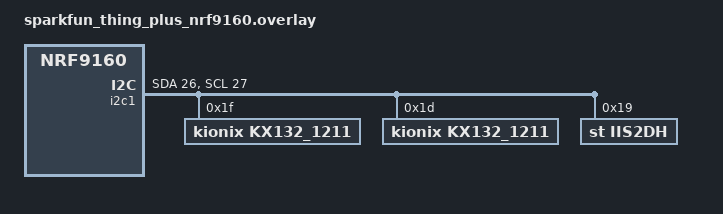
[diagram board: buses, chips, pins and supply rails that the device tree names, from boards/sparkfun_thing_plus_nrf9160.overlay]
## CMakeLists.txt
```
# ======================================================================
#  Project:  Kionix driver demo
#
#  SPDX-License-Identifier: Apache-2.0
# ======================================================================



# ----------------------------------------------------------------------
# - SECTION - the four stanzas from a Zephyr 'hello_world' simple app
# ----------------------------------------------------------------------

cmake_minimum_required(VERSION 3.20.0)

find_package(Zephyr REQUIRED HINTS $ENV{ZEPHYR_BASE})
project(hello_world)

#target_sources(app PRIVATE src/main.c)



# ----------------------------------------------------------------------
# - SECTION - development messages
# ----------------------------------------------------------------------

message(STATUS "- DEV 0923 - variable ZEPHYR_BASE holds '${ZEPHYR_BASE}'")



# ----------------------------------------------------------------------
# - SECTION - additional include paths
# ----------------------------------------------------------------------

zephyr_include_directories($ENV{ZEPHYR_BASE}/include/zephyr/debug)

zephyr_include_directories($ENV{ZEPHYR_BASE}/include/zephyr/kernel)

# Allow cmake and build tools to find 'arch_interface.h':
zephyr_include_directories($ENV{ZEPHYR_BASE}/include/zephyr/sys)


# To include lis2dh.h:
zephyr_include_directories($ENV{ZEPHYR_BASE}/drivers/sensor/lis2dh)
# To include iis2dh.h:
zephyr_include_directories($ENV{ZEPHYR_BASE}/drivers/sensor/iis2dh)


# 2022-11-10 THU - Zephyr 3.2.0 include path changes
zephyr_include_directories($ENV{ZEPHYR_BASE}/include/zephyr)




# ----------------------------------------------------------------------
# - SECTION - project sources
# ----------------------------------------------------------------------

# Originally called Kionix out-of-tree driver code (no new thread yet created to do this):
target_sources(app PRIVATE src/main.c)

# Identifying modules:
target_sources(app PRIVATE src/banner.c)

# Development modules:
target_sources(app PRIVATE src/diagnostic.c)

# Sensors related:
target_sources(app PRIVATE src/thread-iis2dh.c)
target_sources(app PRIVATE src/thread-lis2dh.c)
target_sources(app PRIVATE src/thread-led.c)

# Command Line Interface related:
target_sources(app PRIVATE src/thread-simple-cli.c)
target_sources(app PRIVATE src/cli-zephyr-stack-info.c)
target_sources(app PRIVATE src/cli-zephyr-kernel-timing.c)
target_sources(app PRIVATE src/cli-iis2dh-sensor.c)

# Internals:
target_sources(app PRIVATE src/conversions.c)
target_sources(app PRIVATE src/scoreboard.c)



## 2021-11-11
## https://stackoverflow.com/questions/31343813/displaying-cmake-variables

macro(print_all_variables)
    message(STATUS "print_all_variables------------------------------------------{")
    get_cmake_property(_variableNames VARIABLES)
    foreach (_variableName ${_variableNames})
        message(STATUS "${_variableName}=${${_variableName}}")
    endforeach()
    message(STATUS "print_all_variables------------------------------------------}")
endmacro()

#print_all_variables()


# --- end of CMakeLists.txt file ---
```

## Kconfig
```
#
# Copyright (c) <team name here>
#

mainmenu "Kionix Zephyr Driver Demo"

source "Kconfig.zephyr"

## 2021-11-15 MON
# 2021-11-15 - Unexpected need to add this stanza when today `west update` no longer pulls in kionix-drivers dependency:
#rsource "../kionix-drivers/Kconfig"
```

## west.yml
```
manifest:
  remotes:
    - name: zephyrproject-rtos
      url-base: https://github.com/zephyrproject-rtos

  projects:
    - name: zephyr
      repo-path: zephyr
      remote: zephyrproject-rtos
      revision: v3.2.0
      import: true

    # Kionix driver work repository, name of remote repository followed by name of local dir into which to clone:
    - name: zephyr-driver-work-v2
      path: kionix-drivers
      revision: main
      url: https://github.com/tedhavelka/zephyr-driver-work-v2

  self:
    # This repository should be cloned to 
    path: kionix-driver-demo
```

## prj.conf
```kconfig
##----------------------------------------------------------------------
##
## Copyright (c) <team name here>
##
## Note:  borrowing a number of Zephyr configuration stanzas from
##  Jared Wolff's "Air Quality Wing Demo" prj.conf file.  Details
##  of Jared's Zephyr work in this regard on Github at:
##
##  *  https://github.com/circuitdojo/air-quality-wing-zephyr-demo/blob/main/basic/prj.conf
##
##----------------------------------------------------------------------

# Heap and stacks
CONFIG_INIT_STACKS=y
CONFIG_MAIN_STACK_SIZE=2048

# GPIO
CONFIG_GPIO=y

# Logging
CONFIG_LOG=y
CONFIG_LOG_MODE_IMMEDIATE=y
CONFIG_SERIAL=y
CONFIG_CONSOLE=y
CONFIG_UART_CONSOLE=y
CONFIG_LOG_BACKEND_UART=y

# run time diagnostics
CONFIG_CBPRINTF_FP_SUPPORT=y


## 2022-09-23 FRI - work to bring up Kionix Driver Demo built against Zephyr RTOS 3.1.0:
CONFIG_DYNAMIC_INTERRUPTS=y
#
# Above config symbol assigned 'y' per clue in zephyr/arch/arm/core/aarch32/irq_manage.c:
#
#295 #ifdef CONFIG_DYNAMIC_INTERRUPTS
#296 #ifdef CONFIG_GEN_ISR_TABLES
#297 int arch_irq_connect_dynamic(unsigned int irq, unsigned int priority,
#298                              void (*routine)(const void *parameter),
#299                              const void *parameter, uint32_t flags)
#300 {
#301         z_isr_install(irq, routine, parameter);
#302         z_arm_irq_priority_set(irq, priority, flags);
#303         return irq;
#304 }
#305 #endif /* CONFIG_GEN_ISR_TABLES */


## 2021-11-11 - Zephyr thread analyzer work:
CONFIG_THREAD_ANALYZER=y
CONFIG_THREAD_ANALYZER_USE_PRINTK=y
CONFIG_THREAD_ANALYZER_AUTO=n
CONFIG_THREAD_NAME=y
#CONFIG_THREAD_ANALYZER_AUTO_INTERVAL=5


# Sensors
CONFIG_I2C=y
CONFIG_SENSOR=y
CONFIG_KX132_1211=y

# 2021-10-16 SAT . . . note this alone does not inform `cmake` where
#  to find STMicro's driver sources in sdk-nrf modules/hal/...:
CONFIG_IIS2DH=y
CONFIG_IIS2DH_RANGE=0
CONFIG_IIS2DH_ODR=0

# 2021-10-17 SUN
CONFIG_LIS2DH=y
CONFIG_LIS2DH_ODR_RUNTIME=y

# Enable MCUboot bootloader
#CONFIG_BOOTLOADER_MCUBOOT=y

# CONFIG_SENSOR_LOG_LEVEL_DBG=y


# --- EOF ---
```

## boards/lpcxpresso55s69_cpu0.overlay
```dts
/*
# lpc55x69 dev kit dts file of interest is zephyr/boards/arm/lpcxpresso55s69/lpcxpresso55s69.dtsi
*/

/ {
    aliases {
        uart2 = &flexcomm2;
        uart-2 = &flexcomm2;
    };
};



/*
# Reference - file where flexcomm nodes enabled for lpc55s69 MCU:
# zephyr/boards/arm/lpcxpresso55s69/lpcxpresso55s69_cpu0.dts
*/

&flexcomm2 {
    compatible = "nxp,lpc-usart";
    current-speed = <115200>;
    status = "okay";
};


&flexcomm4 {

/* See TN027-Power-On-Procedure.pdf for purpose of 0x1F and 0x1D
   Kionix sensor addresses here:   */  

        kionix_sensor: kx132_1211@1f {
                compatible = "kionix,kx132_1211";
                reg = <0x1F>;
                label = "KX132_1211";
        };
/*
        stmicro_sensor: iis2dh@19 {
                compatible = "st,iis2dh";
                reg = <0x19>;
                label = "IIS2DH";
        };
*/
        stmicro_sensor: iis2dh@18 {
                compatible = "st,iis2dh";
                reg = <0x18>;
                label = "IIS2DH";
        };
};



&blue_led {
    status = "okay";
};
```

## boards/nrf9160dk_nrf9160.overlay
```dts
/*
 *  https://community.jaredwolff.com/d/73-accelerometer-example-failing-to-compile-on-feather-v2/2
 *  https://www.youtube.com/watch?v=sWaxQyIgEBY  --- Device Tree Deep Dive
 */

&i2c1 {
        compatible = "nordic,nrf-twim";
        status = "okay";
        sda-pin = <26>;
        scl-pin = <27>;
        kionix_sensor: kx132_1211@1f {
                compatible = "kionix,kx132_1211"; 
                reg = <0x1F>;
                label = "KX132_1211";
        };  
};
```

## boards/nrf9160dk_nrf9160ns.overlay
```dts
/*
 *  https://community.jaredwolff.com/d/73-accelerometer-example-failing-to-compile-on-feather-v2/2
 *  https://www.youtube.com/watch?v=sWaxQyIgEBY  --- Device Tree Deep Dive
 */

&i2c1 {
        compatible = "nordic,nrf-twim";
        status = "okay";
        sda-pin = <26>;
        scl-pin = <27>;
        kionix_sensor: kx132_1211@1f {
                compatible = "kionix,kx132_1211"; 
                reg = <0x1F>;
                label = "KX132-1211";
        };  
};
```

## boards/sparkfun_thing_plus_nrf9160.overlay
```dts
/*
 *  https://community.jaredwolff.com/d/73-accelerometer-example-failing-to-compile-on-feather-v2/2
 *  https://www.youtube.com/watch?v=sWaxQyIgEBY  --- Device Tree Deep Dive
 *  `for f in *.overlay; do sed -i "s|kx132-1211|kx132_1211|g" "$f"; done` -- 2021-08-26 multi-file naming and C syntax correction.
 */

#include "sparkfun_thing_plus_nrf9160_common_kionix_demo.overlay"

&i2c1 {
        compatible = "nordic,nrf-twim";
        status = "okay";
        sda-pin = <26>;
        scl-pin = <27>;

/* See TN027-Power-On-Procedure.pdf for purpose of 0x1F and 0x1D
   Kionix sensor addresses here:   */

        kionix_sensor: kx132_1211@1f {
                compatible = "kionix,kx132_1211";
                reg = <0x1F>;
                label = "KX132_1211";
        };

        kionix_sensor_flipped_i2c_addr: kx132_1211@1d {
                compatible = "kionix,kx132_1211";
                reg = <0x1D>;
                label = "KX132_1211";
        };

        stmicro_sensor: iis2dh@19 {
                compatible = "st,iis2dh";
                reg = <0x19>;
                label = "IIS2DH";
        };
};
```

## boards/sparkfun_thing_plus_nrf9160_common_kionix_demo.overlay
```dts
/*
 *
 * @file   sparkfun_thing_plus_nrf9160_common_kionix_demo.overlay
 * SPDX-License-Identifier: Apache-2.0
 */

//----------------------------------------------------------------------
// Purpose:  enable second UART on nRF9160, for communications separate
//   from CP2102N USB-to-serial interface on UART0:
//----------------------------------------------------------------------

&uart0 {
        current-speed = <115200>;
};

&uart2 {
        status = "okay";
        current-speed = <115200>;
        tx-pin = <24>;
        rx-pin = <23>;
};


// 2021-10-26 - assuring I2C1 peripheral is clocked at 400kHZ, default
//   value in sparkfun_thing_plus_nrf9106.dts file is 100kHZ:
// # 0x61A80 = 400000, clock-frequency = < 0x186a0 >;

&i2c1 {
        clock-frequency = < 0x61A80 >;
};


// 2022-11-10 THU

/ {
    aliases {
        uart-2 = &uart2;
    };
};
```

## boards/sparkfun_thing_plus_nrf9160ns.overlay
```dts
/*
 *  https://community.jaredwolff.com/d/73-accelerometer-example-failing-to-compile-on-feather-v2/2
 *  https://www.youtube.com/watch?v=sWaxQyIgEBY  --- Device Tree Deep Dive
 *  `for f in *.overlay; do sed -i "s|kx132-1211|kx132_1211|g" "$f"; done` -- 2021-08-26 multi-file naming and C syntax correction.
 */

#include "sparkfun_thing_plus_nrf9160_common_kionix_demo.overlay"

&i2c1 {
        compatible = "nordic,nrf-twim";
        status = "okay";
        sda-pin = <26>;
        scl-pin = <27>;
/* See TN027-Power-On-Procedure.pdf for purpose of 0x1F and 0x1D
   Kionix sensor addresses here:   */
        kionix_sensor: kx132_1211@1f {
                compatible = "kionix,kx132_1211";
                reg = <0x1F>;
                label = "KX132_1211";
        };
        kionix_sensor_flipped_i2c_addr: kx132_1211@1d {
                compatible = "kionix,kx132_1211";
                reg = <0x1D>;
                label = "KX132_1211";
        };
        stmicro_sensor: iis2dh@19 {
                compatible = "st,iis2dh";
                reg = <0x19>;
                label = "IIS2DH";
        };
};
```

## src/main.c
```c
/*
 *  Project:  Kionix Driver Demo (Zephyr RTOS based app)
 *
 *  Copyright (c) 2021 Neela Nurseries
 *
 *  Based on 2016 Intel Corporation sample Zephyr app, "basic/blinky"
 *
 *  SPDX-License-Identifier: Apache-2.0
 */



#define KIONIX_DRIVER_REV_MAJOR 0
#define KIONIX_DRIVER_REV_MINOR 3
// revision updated 2022-09-27 revision 0p3 . . . branch shift-from-nordic-ncs
// revision updated 2021-10-06 revision 0p2



//----------------------------------------------------------------------
// - SECTION - includes
//----------------------------------------------------------------------

// newlib C includes:

#include <stdio.h> // to provide snprintf()


// Zephyr RTOS includes:

#include <kernel.h>  // In Zephyr 3.2.0 no longer include zephyr.h but rather kernel.h
#include <device.h>
#include <devicetree.h>
#include <drivers/gpio.h>

// 2021-08-26 - air-quality-wing-zephyr-demo by Jared Wolff includes this Zephyr project header:
#include <drivers/sensor.h>

// 2021-08-06 - blink-custom first addition of Zephyr functionality:
#include <sys/printk.h>

// 2021-10-05 - CLI incorporation work, see Zephyr v2.6.0 file "zephyr/subsys/console/tty.c"
#include <drivers/uart.h>   // to provide uart_poll_in()

// 2021-08-26 Blindly borrowing next four active lines from Jared Wolff's
//  air-quality-wing-zephyr-demo project:
// REF https://docs.zephyrproject.org/2.6.0/reference/logging/index.html?highlight=log_module_register#c.LOG_MODULE_REGISTER
#include <logging/log.h>
LOG_MODULE_REGISTER(demo);


// Out-Of-Tree driver includes:

// 2021-08-24, 2021-08-26 losing double quotes in favor of arrow brackets:
// ( We can arrow bracket this included file's name thanks to out-of-tree,
//  KX132_1211 driver CMakeLists.txt file and zephyr_include_directories()
//  stanza, which points to the path from top dir of driver to this
//  header file. )

#include <kx132-1211.h>


// Local project includes:

// 2021-10-06 - to add wrapper about Zephyr printk(), for early CLI development work:
#include "version.h"
#include "common.h"
#include "development-flags.h"
#include "diagnostic.h"
#include "return-values.h"

// 2021-10-16 -
#include "thread-iis2dh.h"
#include "thread-lis2dh.h"
#include "thread-simple-cli.h"
#include "thread-led.h"

#include "scoreboard.h"




//----------------------------------------------------------------------
// - SECTION - symbol defines
//----------------------------------------------------------------------

/* Device name defintions*/
//#define SHTC3 DT_INST(0, sensirion_shtc3)
#define KX132_1211 DT_INST(0, kionix_kx132_1211)
#define CONFIG_KX132_1211_DEV_NAME DT_LABEL(KX132_1211)

// https://docs.zephyrproject.org/latest/guides/dts/howtos.html#get-a-struct-device-from-a-devicetree-node
#define KIONIX_ACCELEROMETER DT_NODELABEL(kionix_sensor)


// defines from Nordic sdk-nrf sample apps:

/* 1000 msec = 1 sec */
#define SLEEP_TIME_MS   120000 // 1000



//----------------------------------------------------------------------
// - SECTION - data structures in Kionix driver dev work
//----------------------------------------------------------------------

union generic_data_four_bytes_union_t {
    char as_string[sizeof(int)];
    uint8_t as_bytes[sizeof(int)];
    uint32_t as_32_bit_integer;
};

// Statically declare banner message string allows us to memset once at start of int main():
static char banner_msg[128];



//----------------------------------------------------------------------
// - SECTION - routine definitions
//----------------------------------------------------------------------

void banner(const char* caller)
{
    snprintf(banner_msg, sizeof(banner_msg), "+++ Kionix Driver Demo version %up%u +++\n",
      KIONIX_DRIVER_REV_MAJOR, KIONIX_DRIVER_REV_MINOR);
    dmsg(banner_msg, DIAG_NORMAL);

    (void)caller;
}



#if 0
// * * * * * * * * * * * * * * * * * * * * * * * * * * * * * * * * * * *
// - DEV BEGIN - 2021-10-06 thread addition work
// https://docs.zephyrproject.org/latest/reference/kernel/threads/index.html#spawning-a-thread

#define CLI_STACK_SIZE 500
#define CLI_THREAD_PRIORITY 5

// Zephyr required signature for Zephyr thread entry point routines:
// extern void my_entry_point(void *, void *, void *);

// https://docs.zephyrproject.org/latest/reference/kernel/threads/index.html#c.K_THREAD_STACK_DEFINE

K_THREAD_STACK_DEFINE(cli_stack_area, CLI_STACK_SIZE);
struct k_thread cli_thread_data;

void cli_entry_point(void* arg1, void* arg2, void* arg3)
{
// stub function
}


// - DEV END -
// * * * * * * * * * * * * * * * * * * * * * * * * * * * * * * * * * * *
#endif



//----------------------------------------------------------------------
// - SECTION - main routine code
//----------------------------------------------------------------------

void main(void)
{
// --- LOCAL VAR BEGIN ---

    bool led_is_on = true;
    int main_loop_count = 0;

    int thread_set_up_status = 0;

    int sensor_api_status = 0;

    struct sensor_value requested_config;

    char lbuf[DEFAULT_MESSAGE_SIZE];
    uint32_t rstatus = 0;

// --- LOCAL VAR END ---


    memset(banner_msg, 0, sizeof(banner_msg));
    banner("main");

    const struct device *dev_accelerometer = device_get_binding(DT_LABEL(KIONIX_ACCELEROMETER));
    struct sensor_value value;
    union generic_data_four_bytes_union_t data_from_sensor;
    uint32_t i = 0;


    if (dev_accelerometer == NULL)
    {
        dmsg("-\n- WARNING - Failed to init Kionix sensor device pointer!\n-\n",
          PROJECT_DIAG_LEVEL);
        snprintf(lbuf, DEFAULT_MESSAGE_SIZE,
          "-\n- INFO - Zephyr macros '(DT_LABEL(KIONIX_ACCELEROMETER))' expand to value '%s'\n-\n",
          (DT_LABEL(KIONIX_ACCELEROMETER)));
        dmsg(lbuf, PROJECT_DIAG_LEVEL);
//        dmsg("firmware exiting early, done.\n\n", PROJECT_DIAG_LEVEL);
//        return;
    }
    else
    {
#if 1
        if (!device_is_ready(dev_accelerometer))
        {
            snprintf(lbuf, sizeof(lbuf), "Device %s is not ready\n", dev_accelerometer->name);
            dmsg(lbuf, PROJECT_DIAG_LEVEL);
            return;
        }
        else
#endif
        {
            dmsg("- SUCCESS - found Kionix accelerometer and device is ready\n", PROJECT_DIAG_LEVEL);
        }
    }


// - - - - - - - - - - - - - - - - - - - - - - - - - - - - - - - - - - -
// In following sensor configuration tests first three parameters
//  1 device pointer, 2 sensor channel, 3 sensor attribute stay the same
//  to honor two sensor API enumerations in Zephyr v2.6.0.  These enums
//  do not in any obvious way support arbitrary sensor channels and
//  attributes.  Thus to stay with Zephyr's API way, and pass custom
//  settings to configuring routines of our out-of-tree driver those
//  values we pass in the final parameter.
//
//  Zephyr 2.6.0 project header of interest in this matter is:
//  zephyr/include/drivers/sensor.h.
// - - - - - - - - - - - - - - - - - - - - - - - - - - - - - - - - - - -

    if (dev_accelerometer != NULL)
    {
        if ( DEV_TEST__ENABLE_KX132_1211_ASYNCHRONOUS_READINGS == 1 )
        {
            requested_config.val1 = KX132_ENABLE_ASYNC_READINGS;

            sensor_api_status = sensor_attr_set(
              dev_accelerometer,
              SENSOR_CHAN_ALL,
              SENSOR_ATTR_PRIV_START,          
              &requested_config
            );
        }

        if ( DEV_TEST__SET_KX132_1211_OUTPUT_DATA_RATE == 1 )
        {
            requested_config.val1 = KX132_ENABLE_ASYNC_READINGS;
            requested_config.val2 = KX132_ODR_3200_HZ;

            sensor_api_status = sensor_attr_set(
              dev_accelerometer,
              SENSOR_CHAN_ALL,
              SENSOR_ATTR_PRIV_START,          
              &requested_config
            );
        }

        thread_set_up_status = 0;
    }
    else
    {
        thread_set_up_status = 1;
    }



//----------------------------------------------------------------------
// - STEP - start sample application threads
//----------------------------------------------------------------------

#if NN_DEV__ENABLE_THREAD_LED == 1
    {
        dmsg("- DEV - starting LED signalling thread . . .\n", DIAG_NORMAL);
        thread_set_up_status = initialize_thread_led();

#if 1
        if ( thread_set_up_status != ROUTINE_OK )
        {
            dmsg("- DEV - WARNING!  trouble starting LED signalling thread.\n\r", DIAG_NORMAL);
        }
#endif
    }
#endif


#if NN_DEV__ENABLE_THREAD_IIS2DH_SENSOR == 1
    {
        dmsg("- DEV - starting IIS2DH test thread . . .\n", DIAG_NORMAL);
        thread_set_up_status = initialize_thread_iis2dh_task();
    }
#endif

#if NN_DEV__ENABLE_THREAD_LIS2DH_SENSOR == 1
    {
        dmsg("- DEV - starting comparative LIS2DH test thread . . .\n", DIAG_NORMAL);
        thread_set_up_status = initialize_thread_lis2dh_task();
    }
#endif

#if NN_DEV__ENABLE_THREAD_SIMPLE_CLI == 1
    {
        dmsg("- DEV - starting Kionix demo CLI thread . . .\n", DIAG_NORMAL);
        thread_set_up_status = initialize_thread_simple_cli();
    }
#endif


    while ( 1 )
    {

// - - - - - - - - - - - - - - - - - - - - - - - - - - - - - - - - - - -
// Calls to KX132-1211 driver API:
// NOTE:  these routines do not appear by these names in Zephyr RTOS project,
//  but rather they are generated at build time by Python or other scripts
//  of the build process, and are in part (or full) compiled from developer's
//  project code.  Scratch-the-surface documentation on this at:
// *  https://docs.zephyrproject.org/1.14.1/reference/peripherals/sensor.html
// - - - - - - - - - - - - - - - - - - - - - - - - - - - - - - - - - - -

#if NN_DEV__ENABLE_INT_MAIN_TESTS == 1

        if (dev_accelerometer != NULL)
        {

            if ( DEV_TEST__FETCH_AND_GET_MANUFACTURER_ID )
            {
                sensor_sample_fetch_chan(dev_accelerometer, SENSOR_CHAN_KIONIX_MANUFACTURER_ID);
                sensor_channel_get(dev_accelerometer, SENSOR_CHAN_KIONIX_MANUFACTURER_ID, &value);

                snprintf(lbuf, sizeof(lbuf), "main.c - Kionix sensor reports its manufacturer ID, as 32-bit integer %d%s",
                  value.val1, LFCR);
                dmsg(lbuf, PROJECT_DIAG_LEVEL);
                snprintf(lbuf, sizeof(lbuf), "main.c - sensor_value.val2 holds %d%s", value.val2, LFCR);
                dmsg(lbuf, PROJECT_DIAG_LEVEL);
                data_from_sensor.as_32_bit_integer = value.val1;

                dmsg("main.c - value.val1 as bytes:  ", PROJECT_DIAG_LEVEL);
                for ( i = 0; i < sizeof(int); i++ )
                {
                    snprintf(lbuf, sizeof(lbuf), "0x%2X ", data_from_sensor.as_bytes[i]);
                    dmsg(lbuf, PROJECT_DIAG_LEVEL);
                }
                dmsg("  \"", PROJECT_DIAG_LEVEL);
                for ( i = 0; i < sizeof(int); i++ )
                {
                    snprintf(lbuf, sizeof(lbuf), " %c ", data_from_sensor.as_bytes[i]);
                    dmsg(lbuf, PROJECT_DIAG_LEVEL);
                }
                snprintf(lbuf, sizeof(lbuf), "\"%s", LFCR);
                dmsg(lbuf, PROJECT_DIAG_LEVEL);
            }

            if ( DEV_TEST__FETCH_AND_GET_PART_ID )
            {
                sensor_sample_fetch_chan(dev_accelerometer, SENSOR_CHAN_KIONIX_PART_ID);
                sensor_channel_get(dev_accelerometer, SENSOR_CHAN_KIONIX_PART_ID, &value);
                snprintf(lbuf, sizeof(lbuf), "main.c - Kionix sensor reports part ID of %d%s",
                  value.val1, LFCR);
                dmsg(lbuf, PROJECT_DIAG_LEVEL);
            }

            if ( DEV_TEST__FETCH_ACCELEROMETER_READINGS_XYZ )
            {
                sensor_api_status = sensor_sample_fetch_chan(dev_accelerometer, SENSOR_CHAN_ACCEL_XYZ);
            }

        } 
        else 
        {
            snprintf(lbuf, sizeof(lbuf), "- WARNING - problem initializing KX132 Zephyr device pointer,%s",
              LFCR);
            dmsg(lbuf, PROJECT_DIAG_LEVEL);
            snprintf(lbuf, sizeof(lbuf), "- WARNING + therefore not exercising features of this sensor.%s",
              LFCR);
            dmsg(lbuf, PROJECT_DIAG_LEVEL);
        } 

#endif // NN_DEV__ENABLE_INT_MAIN_TESTS 

// Output periodic or multi-phasic blank line to highlight scrolling in terminal window (note 1):

#if 1
        if ( (main_loop_count % 3) == 0 )
        {
            dmsg("- MARK - main loop\n\r", PROJECT_DIAG_LEVEL);
        }
#endif
//        rstatus = printk_cli("- MARK - main loop 2\n\r");



        k_msleep(SLEEP_TIME_MS);
        ++main_loop_count;
    }

} // end routine void main(void)



//----------------------------------------------------------------------
// - SECTION - Notes
//----------------------------------------------------------------------

/*

(1)  Output periodic or multi-phasic blank line to highlight scrolling in terminal window:

//        if ( led_is_on == 0 )
//        if ( (main_loop_count % 3) == 0 )
//        if (((main_loop_count % 3) == 0 ) || ( (main_loop_count % 5) == 0 ))


(2)  Could not successfully compile when using Zephr DEVICE_DT_GET(...) macro:
//    const struct device *dev_accelerometer;
//    dev_accelerometer = DEVICE_DT_GET(DT_NODELABEL(kionix_sensor));
//    const struct device *dev_accelerometer = DEVICE_DT_GET(DT_NODELABEL(kionix_sensor));
    const struct device *dev_accelerometer = device_get_binding(DT_LABEL(KIONIX_ACCELEROMETER));



*/

// --- EOF --
```

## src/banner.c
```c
/*
 *  @Project Kionxi Driver Demo
 *
 *  @File
 *
 *  @Copyright (c) 2021 Neela Nurseries
 *
 *  @SPDX-License-Identifier: Apache-2.0
 */


#include <stdint.h>         // to provide define of uint32_t
#include <stdio.h>          // to provide snprintf() and related

#include "version.h"
#include "thread-simple-cli.h"
#include "return-values.h"
#include "routine-options.h"



//----------------------------------------------------------------------
// - SECTION - routine definitions
//----------------------------------------------------------------------

uint32_t latest_version_string(char* callers_buffer, uint32_t option)
{
    if ( callers_buffer != NULL )
    {
        snprintf(callers_buffer, KD_VERSION_STRING_LENGTH, "KD Demo v%u.%u.%u",
          KD_VERSION_NUMBER_MAJOR, KD_VERSION_NUMBER_MINOR, KD_VERSION_NUMBER_BRANCH);
    }

    if ( option == KD_ROUTINE_OPTION__RETURN_AND_DISPLAY_APP_VERSION )
    {
        printk_cli(callers_buffer);
    }

    return ROUTINE_OK;
}



uint32_t cli__kd_version(const char* args)
{
    char lbuf[KD_VERSION_STRING_LENGTH] = { 0 };
    uint32_t rstatus = ROUTINE_OK;

    printk_cli("\n\r");
    rstatus = latest_version_string(lbuf, KD_ROUTINE_OPTION__RETURN_AND_DISPLAY_APP_VERSION);
    printk_cli("\n\r");

    return rstatus;
}



uint32_t cli__banner_message(const char* args)
{
    uint32_t rstatus = ROUTINE_OK;
    char lbuf[KD_VERSION_STRING_LENGTH] = { 0 };

    printk_cli("\r\n**------------------------------------------------------------------------------------------------**\n\r");
    printk_cli("**  Kionix Driver Demo\n\r**  ");
    rstatus = latest_version_string(lbuf, KD_ROUTINE_OPTION__RETURN_APP_VERSION);
    printk_cli(lbuf);
    printk_cli("\n\r**  A small Zephyr RTOS 2.6.0 based app to exercise Kionix KX132-1211 accelerometer\n\r");
    printk_cli("**------------------------------------------------------------------------------------------------**\n\r\r\n");

    return rstatus;
}




// --- EOF ---
```

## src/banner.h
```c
#ifndef _BANNER_H
#define _BANNER_H


uint32_t cli__kd_version(const char* args);

uint32_t cli__banner_message(const char* args);


#endif
```

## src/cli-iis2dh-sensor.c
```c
/*
 *  part of Kionix Driver Demo
 */



//---------------------------------.------------------------------------
// - SECTION - pound includes
//---------------------------------^------------------------------------

#include <stdio.h>
#include <stdlib.h>
#include <string.h>                // to provide memset()
#include <stdint.h>                // to provide define of uint32_t

// app and development supporting:
#include "common.h"
#include "conversions.h"
#include "diagnostic.h"
#include "module-ids.h"
#include "return-values.h"
#include "scoreboard.h"

#include "kionix-demo-errors.h"

// sensor specific (this CLI command deals with STMicro IIS2DH):
#include "thread-iis2dh.h"

// this source file part of 'simple CLI' module in app:
#include "thread-simple-cli.h"     // to provide prototype for printk_cli()



//----------------------------------------------------------------------
// - SECTION - file scoped variables
//----------------------------------------------------------------------

// extern uint32_t argument_count;

enum iis2dh_flexible_commands
{
    KD__IIS2DH_CMD__FIRST_ENUM_ELEMENT,
    KD__IIS2DH_CMD__FROM_REG_READ_ONE_BYTE,
    KD__IIS2DH_CMD__FROM_REG_READ_MULTIPLE_BYTES,
    KD__IIS2DH_CMD__TO_REG_WRITE_ONE_BYTE,

    KD__IIS2DH_CMD__COUNT_FLEXIBLE_CMD_FORMS
};



//---------------------------------.------------------------------------
// - SECTION - routines
//---------------------------------^------------------------------------

uint32_t cli__iis2dh_sensor_handler(const char* args)
{

// --- VAR BEGIN ---
    uint32_t rstatus = ROUTINE_OK;
    char lbuf[DEFAULT_MESSAGE_SIZE];
    char binary_rep[BINARY_REPRESENTATION_EIGHT_BITS_AS_STRING];
    uint32_t argument_count = argument_count_from_cli_module();

// for generalized command parsing:
    uint32_t match = 0;
    char argument[SUPPORTED_ARG_LENGTH];
    uint32_t placeholder_decimal_value = 0;
    enum iis2dh_flexible_commands command_to_execute = KD__IIS2DH_CMD__FIRST_ENUM_ELEMENT;

// for iis2dh command to read or write register, fixed at one byte read or sent:
    uint32_t type_of_arg = 0;
    uint32_t control_register = 0;
    uint8_t value_of_register = 0;
    uint32_t config_value = 0;

// --- VAR END ---


// - NOTE 1 - <--dev code removed from this point

// GENERALIZED COMMAND PARSING MACROS - ALLOW FOR CERTAIN ONE-LINE ARGUMENT CHECKS:
// (Note:  these macros depend on local variables in 'generalized command parsing' section top of this routine.)

#define STRNCMP_ARGUMENT(index_to_argument, pattern, up_to_byte_length) \
rstatus = arg_n(index_to_argument, argument); \
match += strncmp(argument, pattern, up_to_byte_length);

#define CHECK_IF_DECIMAL_AT_ARG_INDEX(n) \
match += arg_is_decimal(n, &placeholder_decimal_value);


    if ( argument_count == 1 )
    {
// Check for valid command to read one fixed byte from iis2dh config register
        CHECK_IF_DECIMAL_AT_ARG_INDEX(1);
        if ( match == 0 )
            { command_to_execute = KD__IIS2DH_CMD__FROM_REG_READ_ONE_BYTE; }
    }

    else if ( argument_count == 3 )
    {
//        printk_cli("checking for `iis2dh write <reg> <data>` command...\n\r");
        STRNCMP_ARGUMENT(0, "write", SUPPORTED_ARG_LENGTH);
        CHECK_IF_DECIMAL_AT_ARG_INDEX(1);   // <-- here expect peripheral register address
        CHECK_IF_DECIMAL_AT_ARG_INDEX(2);   // <-- here expect byte value to write to peripheral register
        if ( match == 0 )
            { command_to_execute = KD__IIS2DH_CMD__TO_REG_WRITE_ONE_BYTE; }
//        else
//            { printk_cli("iis2dh write command not found.\n\r"); }
    }

// 2021-11-18 - check for input of the form "iis2dh read n from n":
    else if ( argument_count == 4 )
    {
        STRNCMP_ARGUMENT(0, "read", SUPPORTED_ARG_LENGTH);
        CHECK_IF_DECIMAL_AT_ARG_INDEX(1);
        STRNCMP_ARGUMENT(2, "from", SUPPORTED_ARG_LENGTH);
        CHECK_IF_DECIMAL_AT_ARG_INDEX(3);

        if ( match == 0 )
            { command_to_execute = KD__IIS2DH_CMD__FROM_REG_READ_MULTIPLE_BYTES; }
    }


    switch (command_to_execute)
    {
        case KD__IIS2DH_CMD__FROM_REG_READ_MULTIPLE_BYTES:
        {
#define LOCAL_CAP_ON_VALUES_CAPTURED 24
            uint8_t register_values[LOCAL_CAP_ON_VALUES_CAPTURED];

#if 1
            uint32_t count_bytes_to_read = (
              dec_value_at_arg_index(1) <= LOCAL_CAP_ON_VALUES_CAPTURED ?
              dec_value_at_arg_index(1) :
              LOCAL_CAP_ON_VALUES_CAPTURED
            );

//            dev__thread_iis2dh__set_one_shot_message_flag();

            rstatus = wrapper_iis2dh_register_read_multiple(
                                                             dec_value_at_arg_index(3),
                                                             register_values,
                                                             count_bytes_to_read
                                                           );
#endif
            if ( count_bytes_to_read == 1 )
            {
memset(binary_rep, 0, BINARY_REPRESENTATION_EIGHT_BITS_AS_STRING);
                integer_to_binary_string(register_values[0], binary_rep, BINARY_REPRESENTATION_EIGHT_BITS_AS_STRING);
                snprintf(lbuf, DEFAULT_MESSAGE_SIZE, "\n\rregister 0x%02X holds 0x%02X, equal to %u and 0b%s\n\r",
                  dec_value_at_arg_index(3), register_values[0], register_values[0], binary_rep);
                printk_cli(lbuf);
            }
            else
            {
                snprintf(lbuf, DEFAULT_MESSAGE_SIZE, "\n\rbytes read back from IIS2DH register 0x%02X:\n\r",
                  dec_value_at_arg_index(3));
                printk_cli(lbuf);
                for ( int i = 0; i < count_bytes_to_read; i++ )
                {
// two modulo tests provide white space to highlight accelerometer x,y,z triplet data:
                    if ( ( i % 2 ) == 0 ) { printk_cli(" "); }
                    if ( ( i % 6 ) == 0 ) { printk_cli(" "); }
                    snprintf(lbuf, DEFAULT_MESSAGE_SIZE, " 0x%02X", register_values[i]);
                    printk_cli(lbuf);
                }
            }

            printk_cli(ONE_NEWLINE);

            break;
        }
 

        case KD__IIS2DH_CMD__TO_REG_WRITE_ONE_BYTE:
        {
#if 1
            printk_cli("\n\rcalling wrapper routine to write config register . . .\n\r");
            dev__thread_iis2dh__set_one_shot_message_flag();
#endif
            rstatus = wrapper_iis2dh_register_write(
                                                     dec_value_at_arg_index(1),
                                                     dec_value_at_arg_index(2)
                                                   );
            break;
        }


        default:
            break;
    }    


    return rstatus;

} // end routine cli__iis2dh_sensor_handler()



uint32_t cli__request_temperature_reading(const char* args)
{
// --- VAR BEGIN ---
    uint32_t rstatus = ROUTINE_OK;
    char lbuf[DEFAULT_MESSAGE_SIZE];
// --- VAR END ---

    scoreboard__update_flag__temperature_reading_requested(SET_FLAG);

    return rstatus;
}



//----------------------------------------------------------------------
// - SECTION - notes
//----------------------------------------------------------------------

#if 0 // NOTE 1

    snprintf(lbuf, DEFAULT_MESSAGE_SIZE, "- DEV 1117b - working with args '%s',\n\r", args);
    printk_cli(lbuf);

    snprintf(lbuf, DEFAULT_MESSAGE_SIZE, "present argument count is '%u',\n\r", argument_count);
    printk_cli(lbuf);

    rstatus = arg_n(0, argument);
    snprintf(lbuf, DEFAULT_MESSAGE_SIZE, "argument 1 is '%s'\n\r", argument);
    printk_cli(lbuf);

    rstatus = arg_n(1, argument);
    snprintf(lbuf, DEFAULT_MESSAGE_SIZE, "argument 2 is '%s'\n\r", argument);
    printk_cli(lbuf);

#endif



// --- EOF ---
```

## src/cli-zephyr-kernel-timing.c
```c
/*
 *  Project:  Kionix Driver Demo (Zephyr RTOS based app)
 *
 *  File:  cli-zephyr-kernel-timing.c
 *
 *  SPDX-License-Identifier: Apache-2.0
 */


//----------------------------------------------------------------------
// - SECTION - pound includes
//---------------------------------^------------------------------------

#include <stdint.h>                // to provide define of uint32_t
#include <stdio.h>                 // to provide snprintf() and related

//#include <include/kernel.h>        // to provide k_cycle_get_32()
// 2021-11-16 Stanza added to CMakeLists.txt file "include_directories(../zephyr/include)" enables:
#include <kernel.h>                // to provide k_cycle_get_32()

#include "common.h"                //
#include "diagnostic.h"            //
#include "return-values.h"         //
#include "thread-simple-cli.h"     // to provide prototype for printk_cli()



//----------------------------------------------------------------------
// - SECTION - routine definitions
//----------------------------------------------------------------------

uint32_t return_zephyr_kernel_runtime_cycle_count(uint32_t* kernel_cycle_count)
{
    *kernel_cycle_count = k_cycle_get_32();
    return ROUTINE_OK;
};


uint32_t cli__show_zephyr_kernel_runtime_cycle_count(const char* args)
{
    char lbuf[SIZE_OF_MESSAGE_MEDIUM] = { 0 };
    uint32_t cycle_count = 0;

    cycle_count = k_cycle_get_32();
    snprintf(lbuf, SIZE_OF_MESSAGE_MEDIUM, "%sZephyr kernel at %u cycles\n\r",
      ONE_NEWLINE, cycle_count);
    printk_cli(lbuf);

    return ROUTINE_OK;
};



// --- EOF ---
```

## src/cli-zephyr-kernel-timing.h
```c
#ifndef _CLI_ZEPHYR_KERNEL_TIMING_H
#define _CLI_ZEPHYR_KERNEL_TIMING_H


uint32_t return_zephyr_kernel_runtime_cycle_count(uint32_t* kernel_cycle_count);

uint32_t cli__show_zephyr_kernel_runtime_cycle_count(const char* args);


#endif // _CLI_ZEPHYR_KERNEL_TIMING_H
```

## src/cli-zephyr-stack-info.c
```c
//----------------------------------------------------------------------
//
//  Project:  Kionix Driver Demo
//
//     File:  cli-zephyr-stack-info.c
//
//
//  Note struct thread_analyzer_info defined in file
//  './include/debug/thread_analyzer.h'
//
//----------------------------------------------------------------------


//----------------------------------------------------------------------
// - SECTION - includes
//----------------------------------------------------------------------

// Standard C includes from newlibc:
#include <stdint.h>                // to provide define of uint32_t
#include <string.h>                // to provide strlen()
#include <stdio.h>                 // to provide snprintf() and related

// Zephyr RTOS project includes:
#include <sys/printk.h>


// 2022-09-23 - Note order of following three includes is important:

// Note - why we want arch_interface.h:
//  include/zephyr/sys/arch_interface.h:46:typedef void (*k_thread_entry_t)(void *p1, void *p2, void *p3);
//                                                        ^^^^^^^^^^^^^^^^

extern int arch_irq_connect_dynamic(unsigned int irq, unsigned int priority,
                             void (*routine)(const void *parameter),
                             const void *parameter, uint32_t flags);

#include <arch_interface.h>        // to provide k_thread_entry_t and related to <thread.h>
#include <thread.h>                // to provide k_thread_runtime_stats_t definition for <thread_analyzer.h>
#include <thread_analyzer.h>


// Kionix Driver Demo headers:
#include "common.h"
#include "return-values.h"
#include "diagnostic.h"
#include "thread-simple-cli.h"


//----------------------------------------------------------------------
// - SECTION - includes
//----------------------------------------------------------------------

#define WIDTH_THREAD_NAME (24)



//----------------------------------------------------------------------
// - SECTION - routine definitions
//----------------------------------------------------------------------

// - 1112 DEV - we need to call Zephyr's `thread_analyzer_run()` with a pointer
// - to a routine of the form:
// -
// -    void thread_print_cb(struct thread_analyzer_info *info)

void kd_thread_print_cb(struct thread_analyzer_info *info)
{
    char lbuf[SIZE_OF_MESSAGE_MEDIUM] = { 0 };
    static uint32_t exec_count = 1;
#if 0
    snprintf(lbuf, SIZE_OF_MESSAGE_MEDIUM, "%u)  '%s' stack size %u bytes, stack used %u bytes\n\r",
      exec_count, info->name, info->stack_size, info->stack_used);
    printk_cli(lbuf);
#else
    snprintf(lbuf, SIZE_OF_MESSAGE_MEDIUM, "   %u) '%s' %*sstack size %u bytes, stack used %u bytes, %u%%\n\r",
      (exec_count + 0),
      info->name,
      (WIDTH_THREAD_NAME - strlen(info->name)),  // <-- this arg and next used with %*s format specifier
      " ",
      info->stack_size,
      info->stack_used,
      ((100 * info->stack_used) / info->stack_size)
    );
    printk_cli(lbuf);
#endif
    exec_count++;
}



uint32_t cli__zephyr_2p6p0_stack_statistics(const char* args)
{
    if ( strlen(args) == 0 ) { } // trivial test to start, to avoid compiler warning - TMH

    printk_cli(TWO_NEWLINES);
//    thread_analyzer_print();  // <-- this routine prints to Zephyr app's preferred console UART
    thread_analyzer_run(kd_thread_print_cb);

    return ROUTINE_OK;
}



// --- EOF ---
```

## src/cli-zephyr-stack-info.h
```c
#ifndef _CLI_ZEPHYR_STACK_INFO_H
#define _CLI_ZEPHYR_STACK_INFO_H


// - SECTION - prototypes

// Purpose of prototype to make command known to main / original CLI thread:
uint32_t cli__zephyr_2p6p0_stack_statistics(const char* args);



#endif
```

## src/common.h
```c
#ifndef _COMMON_H
#define _COMMON_H

#ifndef TRUE
#define TRUE 1
#endif

#ifndef FALSE
#define FALSE 0
#endif


#define BYTES_PER_READING (2)
#define READINGS_PER_TRIPLET (3)
#define BYTES_PER_XYZ_READINGS_TRIPLET ( BYTES_PER_READING * READINGS_PER_TRIPLET )

struct acc_reading_triplet
{
    uint16_t x;
    uint16_t y;
    uint16_t z;
};


// 2021-11-05 - Ted looking for best language, we'll clean these 'set' and 'clear' symbols up:    - TMH
#define VALUE_OF_FLAG_SET     1
#define VALUE_OF_FLAG_CLEARED 0

#define SET_FLAG VALUE_OF_FLAG_SET
#define CLEAR_FLAG VALUE_OF_FLAG_CLEARED


// 2021-11-15 - output line and data formatting for use with minicom terminal program:
#define ONE_NEWLINE "\n\r"
#define TWO_NEWLINES "\n\r\n\r"
#define LFCR ONE_NEWLINE



#endif // _COMMON_H
```

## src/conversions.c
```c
/*
 *  Project:  Kionix Driver Demo (Zephyr RTOS based app)
 *
 *  File:  conversions.c
 *
 *  Based on 2016 Intel Corporation sample Zephyr app, "basic/blinky"
 *
 *  Copyright (c) 2021 Neela Nurseries
 *
 *  SPDX-License-Identifier: Apache-2.0
 */



//---------------------------------.------------------------------------
// - SECTION - pound includes
//---------------------------------^------------------------------------

#include <stdio.h>
#include <stdlib.h>
#include <string.h>                // to provide memset()
#include <stdint.h>                // to provide define of uint32_t


// App specific includes . . .
#include "conversions.h"
#include "diagnostic.h"

// this source file part of 'simple CLI' module in app:
#include "thread-simple-cli.h"     // to provide prototype for printk_cli()



/*
 * - - - - - - - - - - - - - - - - - - - - - - - - - - - - - - - - - - -
 *  @Brief   routine to convert eight-bit two's compliment reading
 *           into a value in units of G, gravitational force at surface
 *           of Earth.
 * - - - - - - - - - - - - - - - - - - - - - - - - - - - - - - - - - - -
 */

float reading_in_g(const uint32_t reading_in_twos_comp, const uint32_t full_scale, const uint32_t resolution_in_bits)
{
    uint32_t reading = reading_in_twos_comp;
    uint32_t reading_bounded = (reading & 0xFF);
    float reading_as_float = 0.0;
    float scale_by_value = ( ( 2.0 * APPR_ACCELERATION_OF_GRAVITY ) / 128.0 );
    (void)full_scale;
    (void)resolution_in_bits;

#if 0
#include <sys/printk.h>            // to provide printk() function
//printk("- zzz - converting reading value %u to float value in units of G,\n", reading_in_twos_comp);
printk(" - PASSED VALUE %u -", reading_in_twos_comp);
#endif

// Later add check for values > 255, 1023, 4095, e.g. 8- 10- 12-bit readings
    if ( reading & 0x80 )
    {
        reading_bounded = ~(reading_bounded);
        reading_bounded &= 0xFF;   // keep 8-bit bounded reading bounded,
        reading_bounded++;
    }

    reading_as_float = ( (float)reading_bounded * scale_by_value );

    if ( reading & 0x80 )
        { reading_as_float *= -1.0; }

    return reading_as_float;
}



/*
 * - - - - - - - - - - - - - - - - - - - - - - - - - - - - - - - - - - -
 *
 *  @brief  Routine to convert integer up to 32-bits in length to
 *          string in binary format.  Caller sends pointer to memory
 *          of formatting string, and length of that memory.
 *
 *  @param  integer
 *  @param  string pointer
 *  @param  str_length
 *
 * - - - - - - - - - - - - - - - - - - - - - - - - - - - - - - - - - - -
 */

void integer_to_binary_string(const uint32_t integer, char* string, const uint32_t str_length)
{

    uint32_t masking_bit = 1;
    uint32_t shift_value = 0;
    uint32_t maximum_shift = 0;

#define DEV__BINARY_FORMATTING_DEBUG 0
#define DEV__BINARY_FORMATTING_STRING_INDEXING 0

#if DEV__BINARY_FORMATTING_DEBUG == 1 || DEV__BINARY_FORMATTING_STRING_INDEXING == 1
    char lbuf[DEFAULT_MESSAGE_SIZE] = { 0 };
#endif

//    (str_length > 32) ? (maximum_shift = 32) : (maximum_shift = str_length);
    (str_length > 32) ? (maximum_shift = 32) : (maximum_shift = str_length - 1);

#if DEV__BINARY_FORMATTING_DEBUG == 1
    snprintf(lbuf, DEFAULT_MESSAGE_SIZE, "\n\rready to convert integer up to %u bits wide,\n\r",
      maximum_shift);
    printk_cli(lbuf);
#endif

// place string terminating zero at end of caller's string memory:
    string[(str_length - 1)] = 0;

#if DEV__BINARY_FORMATTING_STRING_INDEXING == 1
        printk_cli("\n\r");
#endif
    for ( shift_value = 0; shift_value < maximum_shift; shift_value++ )
    {
        masking_bit = ( 1 << shift_value );

#if DEV__BINARY_FORMATTING_STRING_INDEXING == 1
        snprintf(lbuf, DEFAULT_MESSAGE_SIZE, "writing binary string index %u,\n\r",
          (str_length - shift_value - 2) );
        printk_cli(lbuf);
#endif

        if ( integer & masking_bit )
        {
            string[(str_length - shift_value - 2)] = 0x31;
        }
        else
        {
            string[(str_length - shift_value - 2)] = 0x30;
        }
    }

//    string[str_length] = 0;

#if DEV__BINARY_FORMATTING_DEBUG == 1
    snprintf(lbuf, DEFAULT_MESSAGE_SIZE, "integer %u equals '%s'.\n\r",
      integer, string);
    printk_cli(lbuf);
#endif
}



// --- EOF ---
```

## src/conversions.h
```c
#ifndef _CONVERSIONS_H
#define _CONVERSIONS_H


#define APPR_ACCELERATION_OF_GRAVITY (9.80665)

// In following defines 'plus one' accounts for string terminating null character, zero value:
#define BINARY_REPRESENTATION_EIGHT_BITS_AS_STRING (8 + 1)
#define BINARY_REPRESENTATION_SIXTEEN_BITS_AS_STRING (16 + 1)
#define BINARY_REPRESENTATION_THIRTY_TWO_BITS_AS_STRING (32 + 1)



float reading_in_g(const uint32_t reading_in_twos_comp, const uint32_t full_scale, const uint32_t resolution_in_bits);

void integer_to_binary_string(const uint32_t integer, char* string, const uint32_t str_length);



#endif // _CONVERSIONS_H
```

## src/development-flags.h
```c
#ifndef _KD_DEVELOPMENT_FLAGS
#define _KD_DEVELOPMENT_FLAGS


//----------------------------------------------------------------------
// - SECTION - DEVELOPMENT FLAGS
//----------------------------------------------------------------------

// --- DEVELOPMENT FLAGS BEGIN ---

// KX132-1211 Configuration:
#define DEV_TEST__ENABLE_KX132_1211_ASYNCHRONOUS_READINGS (1)
#define DEV_TEST__SET_KX132_1211_OUTPUT_DATA_RATE         (0)

// KX132-1211 Readings:
#define DEV_TEST__FETCH_AND_GET_MANUFACTURER_ID           (1)
#define DEV_TEST__FETCH_AND_GET_PART_ID                   (1)
#define DEV_TEST__FETCH_ACCELEROMETER_READINGS_XYZ        (1)


#define NN_DEV__ENABLE_INT_MAIN_TESTS                     (0)
#define NN_DEV__ENABLE_THREAD_IIS2DH_SENSOR               (1)
#define NN_DEV__ENABLE_THREAD_LIS2DH_SENSOR               (0)
#define NN_DEV__ENABLE_THREAD_SIMPLE_CLI                  (1)
#define NN_DEV__ENABLE_THREAD_LED                         (1)

#define NN_DEV__ENABLE_IIS2DH_TEMPERATURE_READGINGS       (0)

#define NN_DEV__TEST_SCOREBOARD_GLOBAL_SETTING            (1)


// 2021-11-17 -
// IIS2DH Configuration work:
#define KD_DEV__ENABLE_IIS2DH_TEMPERATURE_READINGS        (0)
#define KD_DEV__SET_BDU_BEFORE_TEMP_READING_THEN_UNSET    (1)

#define KD_DEV__CLI_DIAG_ON_IN_IIS2DH_TASK                (1)
#define KD_DEV__CLI_DIAG_ON_REGISTER_READS                (1)
#define KD_DEV__CLI_DIAG_ON_REGISTER_WRITES               (1)
#define KD_DEV__CLI_ONE_SHOT_MESSAGE_FLAG                 (1)

// 2021-11-19 -
#define KD_DEV__CONFIG_REGISTERS_SUMMARY_ENABLED          (1)
#define KD_DEV__I2C_WRITE_STATUS                          (1)

#define DEFINE_FOR_USE__ACCELERATOR_START_ACQUISITION_NO_FIFO (0)
#define DEFINE_FOR_USE__READ_OF_IIS2DH_ACC_STATUS_REGISTER    (1)



// Scoreboard related:
#define KD_DEV__ENABLE_SCOREBOARD_DEVELOPMENT_ROUTINES

// --- DEVELOPMENT FLAGS END ---



#endif // _KD_DEVELOPMENT_FLAGS
```

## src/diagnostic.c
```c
/*
 * Copyright (c) 2021 Neela Nurseries
 *
 * SPDX-License-Identifier: Apache-2.0
 */


#include <sys/printk.h>

#include "diagnostic.h"

#include "thread-simple-cli.h"



/*
 *----------------------------------------------------------------------
 * @brief     Wrapper function about Zephyr printk().
 * @purpose   To provide easy way to disable messages on chosen UART
 *            peripheral for Zephyr console, shell-uart, uart-mcumgr
 *            and similar.           
 *----------------------------------------------------------------------
 */

void dmsg(const char* message, int option)
{

#if 0
    if ( option | KD_DIAG_OPTION_TO_DEFAULT_UART )
    {
        printk("%s", message);
    }
#endif

//    if ( option | KD_DIAG_OPTION_TO_CLI_UART )
    if ( 1 )
    {
       printk_cli(message);
    }

#if 0
    switch (option)
    {
       case ( option | KD_DIAG_OPTION_TO_DEFAULT_UART ):
           printk("%s", message);
           break;

       case ( option | KD_DIAG_OPTION_TO_CLI_UART ):
           printk_cli(message);
           break;

       default:
    }
#endif

}




// --- EOF ---
```
